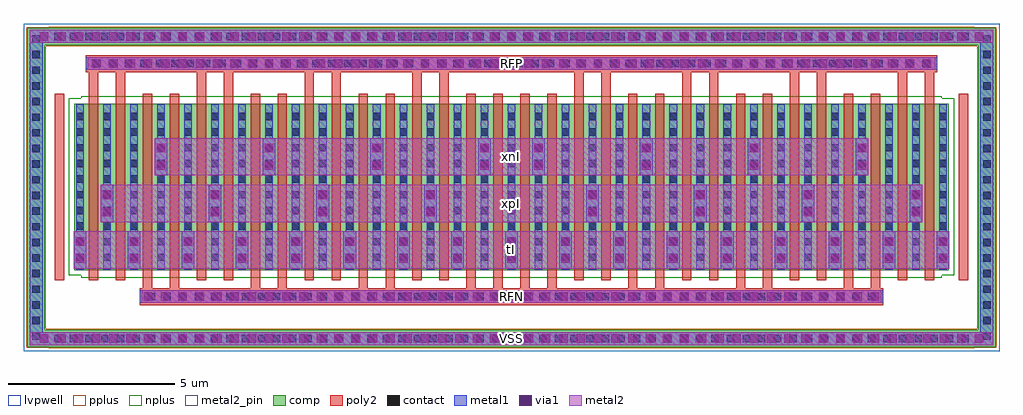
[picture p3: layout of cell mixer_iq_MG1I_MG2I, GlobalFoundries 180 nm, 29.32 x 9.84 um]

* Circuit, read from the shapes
.subckt mixer_iq_MG1I_MG2I RFN RFP VSS tI xnI xpI
XM1 xpI RFP tI VSS nfet_03v3 w=5u l=0.28u m=16
XM2 xnI RFN tI VSS nfet_03v3 w=5u l=0.28u m=16
.ends

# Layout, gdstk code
import gdstk
lib = gdstk.Library(unit=1e-6, precision=1e-09)
def R(c, l, rs):  # rectangles x0, y0, x1, y1
    for r in rs: c.add(gdstk.rectangle(r[:2], r[2:], *l))
def A(c, l, x, y, w, h, nx, ny, dx, dy):  # array of equal rectangles
    R(c, l, [(x+i*dx, y+j*dy, x+i*dx+w, y+j*dy+h) for i in range(nx) for j in range(ny)])
comp = (22, 0)
poly2 = (30, 0)
pplus = (31, 0)
nplus = (32, 0)
contact = (33, 0)
metal1 = (34, 0)
via1 = (35, 0)
metal2 = (36, 0)
metal2_pin = (36, 10)
lvpwell = (204, 0)

mixer_iq_mg1i_mg2i = lib.new_cell('mixer_iq_MG1I_MG2I')
R(mixer_iq_mg1i_mg2i, comp, [(-1.4,-0.82,27.68,-0.3), (-1.4,-0.3,-0.88,8.255), (27.16,-0.3,27.68,8.255), (0,1.495,26.28,6.495), (-1.4,8.255,27.68,8.775)])
A(mixer_iq_mg1i_mg2i, poly2, 11.785, 0.955, 0.28, 5.84, 4, 1, 0.81, 0)
R(mixer_iq_mg1i_mg2i, poly2, [(1.965,0.445,24.315,0.955), (2.065,0.955,2.345,6.795), (2.875,0.955,3.155,6.795), (5.305,0.955,5.585,6.795), (6.115,0.955,6.395,6.795), (8.545,0.955,8.825,6.795), (9.355,0.955,9.635,6.795), (16.645,0.955,16.925,6.795), (17.455,0.955,17.735,6.795), (19.885,0.955,20.165,6.795), (20.695,0.955,20.975,6.795), (23.125,0.955,23.405,6.795), (23.935,0.955,24.215,6.795), (-0.58,1.195,-0.3,6.795), (0.445,1.195,0.725,7.445), (1.255,1.195,1.535,7.445), (3.685,1.195,3.965,7.445), (4.495,1.195,4.775,7.445), (6.925,1.195,7.205,7.445), (7.735,1.195,8.015,7.445), (10.165,1.195,10.445,7.445), (10.975,1.195,11.255,7.445), (15.025,1.195,15.305,7.445), (15.835,1.195,16.115,7.445), (18.265,1.195,18.545,7.445), (19.075,1.195,19.355,7.445), (21.505,1.195,21.785,7.445), (22.315,1.195,22.595,7.445), (24.745,1.195,25.025,7.445), (25.555,1.195,25.835,7.445), (26.58,1.195,26.86,6.795), (0.345,7.445,25.935,7.955)])
R(mixer_iq_mg1i_mg2i, pplus, [(-0.74,-0.85,27.02,-0.84), (-1.42,-0.84,27.7,-0.795), (-1.43,-0.795,27.71,-0.27), (-1.43,-0.27,-0.85,8.225), (27.13,-0.27,27.71,8.225), (-1.43,8.225,27.71,8.75), (-1.42,8.75,27.7,8.795), (-0.74,8.795,27.02,8.805)])
R(mixer_iq_mg1i_mg2i, nplus, [(0.215,1.265,26.065,1.335), (-0.16,1.335,26.44,6.655), (0.215,6.655,26.065,6.725)])
A(mixer_iq_mg1i_mg2i, contact, -0.6, -0.67, 0.22, 0.22, 59, 2, 0.47, 9.075)
A(mixer_iq_mg1i_mg2i, contact, -1.25, -0.6, 0.22, 0.22, 1, 20, 0, 0.47)
A(mixer_iq_mg1i_mg2i, contact, 27.31, -0.6, 0.22, 0.22, 1, 20, 0, 0.47)
A(mixer_iq_mg1i_mg2i, contact, 2.22, 0.59, 0.22, 0.22, 47, 1, 0.47, 0)
A(mixer_iq_mg1i_mg2i, contact, 0.07, 1.77, 0.22, 0.22, 33, 10, 0.81, 0.47)
A(mixer_iq_mg1i_mg2i, contact, 0.575, 7.59, 0.22, 0.22, 54, 1, 0.47, 0)
A(mixer_iq_mg1i_mg2i, metal1, 0.065, 1.505, 0.23, 0.035, 17, 1, 1.62, 0)
A(mixer_iq_mg1i_mg2i, metal1, 0.875, 1.505, 0.23, 1.435, 4, 1, 3.24, 0)
A(mixer_iq_mg1i_mg2i, metal1, 2.495, 1.505, 0.23, 2.835, 4, 1, 3.24, 0)
A(mixer_iq_mg1i_mg2i, metal1, 13.835, 1.505, 0.23, 2.835, 4, 1, 3.24, 0)
A(mixer_iq_mg1i_mg2i, metal1, 15.455, 1.505, 0.23, 1.435, 4, 1, 3.24, 0)
A(mixer_iq_mg1i_mg2i, metal1, -0.01, 1.54, 0.38, 1.12, 17, 1, 1.62, 0)
A(mixer_iq_mg1i_mg2i, metal1, 0.065, 2.66, 0.23, 3.825, 17, 1, 1.62, 0)
A(mixer_iq_mg1i_mg2i, metal1, 0.8, 2.94, 0.38, 1.12, 4, 1, 3.24, 0)
A(mixer_iq_mg1i_mg2i, metal1, 15.38, 2.94, 0.38, 1.12, 4, 1, 3.24, 0)
A(mixer_iq_mg1i_mg2i, metal1, 0.875, 4.06, 0.23, 2.425, 4, 1, 3.24, 0)
A(mixer_iq_mg1i_mg2i, metal1, 15.455, 4.06, 0.23, 2.425, 4, 1, 3.24, 0)
A(mixer_iq_mg1i_mg2i, metal1, 2.42, 4.34, 0.38, 1.12, 4, 1, 3.24, 0)
A(mixer_iq_mg1i_mg2i, metal1, 13.76, 4.34, 0.38, 1.12, 4, 1, 3.24, 0)
A(mixer_iq_mg1i_mg2i, metal1, 2.495, 5.46, 0.23, 1.025, 4, 1, 3.24, 0)
A(mixer_iq_mg1i_mg2i, metal1, 13.835, 5.46, 0.23, 1.025, 4, 1, 3.24, 0)
R(mixer_iq_mg1i_mg2i, metal1, [(-1.335,-0.755,27.615,-0.365), (-1.335,-0.365,-0.945,8.32), (27.225,-0.365,27.615,8.32), (1.975,0.51,24.305,0.89), (0.355,7.51,25.925,7.89), (-1.335,8.32,27.615,8.71)])
A(mixer_iq_mg1i_mg2i, via1, -1.03, -0.69, 0.26, 0.26, 55, 2, 0.52, 9.075)
A(mixer_iq_mg1i_mg2i, via1, 2.09, 0.57, 0.26, 0.26, 43, 1, 0.52, 0)
A(mixer_iq_mg1i_mg2i, via1, 0.05, 1.71, 0.26, 0.26, 17, 2, 1.62, 0.52)
A(mixer_iq_mg1i_mg2i, via1, 0.86, 3.11, 0.26, 0.26, 4, 2, 3.24, 0.52)
A(mixer_iq_mg1i_mg2i, via1, 15.44, 3.11, 0.26, 0.26, 4, 2, 3.24, 0.52)
A(mixer_iq_mg1i_mg2i, via1, 2.48, 4.51, 0.26, 0.26, 4, 2, 3.24, 0.52)
A(mixer_iq_mg1i_mg2i, via1, 13.82, 4.51, 0.26, 0.26, 4, 2, 3.24, 0.52)
A(mixer_iq_mg1i_mg2i, via1, 0.53, 7.57, 0.26, 0.26, 49, 1, 0.52, 0)
R(mixer_iq_mg1i_mg2i, metal2, [(-1.335,-0.755,27.615,-0.365), (2.03,0.51,24.25,0.89), (-0.01,1.54,26.29,2.66), (0.8,2.94,25.48,4.06), (2.42,4.34,23.86,5.46), (0.41,7.51,25.87,7.89), (-1.335,8.32,27.615,8.71)])
R(mixer_iq_mg1i_mg2i, metal2_pin, [(-1.335,-0.755,27.615,-0.365), (2.03,0.51,24.25,0.89), (-0.01,1.54,26.29,2.66), (0.8,2.94,25.48,4.06), (2.42,4.34,23.86,5.46), (0.41,7.51,25.87,7.89)])
R(mixer_iq_mg1i_mg2i, lvpwell, [(-1.52,-0.94,27.8,8.895)])
mixer_iq_mg1i_mg2i.add(gdstk.Label('tI', (13.14,2.1), layer=36, texttype=10))
mixer_iq_mg1i_mg2i.add(gdstk.Label('xpI', (13.14,3.5), layer=36, texttype=10))
mixer_iq_mg1i_mg2i.add(gdstk.Label('xnI', (13.14,4.9), layer=36, texttype=10))
mixer_iq_mg1i_mg2i.add(gdstk.Label('RFP', (13.14,7.7), layer=36, texttype=10))
mixer_iq_mg1i_mg2i.add(gdstk.Label('RFN', (13.14,0.7), layer=36, texttype=10))
mixer_iq_mg1i_mg2i.add(gdstk.Label('VSS', (13.14,-0.56), layer=36, texttype=10))

lib.write_gds('mixer_iq_MG1I_MG2I.gds')
